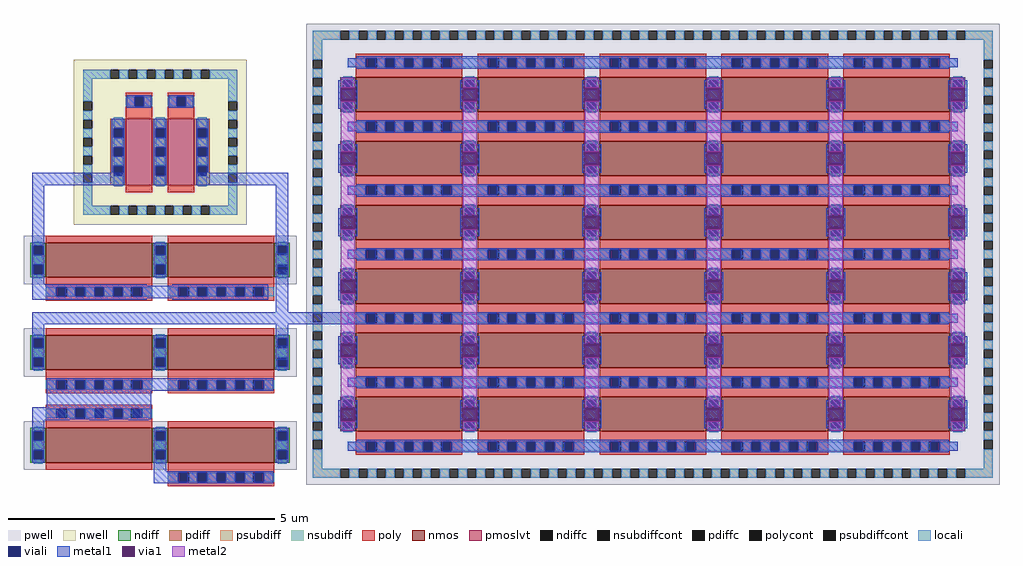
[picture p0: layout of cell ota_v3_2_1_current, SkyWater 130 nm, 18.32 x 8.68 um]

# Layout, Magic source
magic
tech sky130A
magscale 1 2
<< poly >>
rect 3103 70 3107 116
rect 3165 70 3169 116
rect 2187 -170 2191 -124
rect 2249 -170 2253 -124
rect 2645 -170 2649 -124
rect 2707 -170 2711 -124
rect 3103 -170 3107 -124
rect 3165 -170 3169 -124
rect 2187 -410 2191 -364
rect 2249 -410 2253 -364
rect 2645 -410 2649 -364
rect 2707 -410 2711 -364
rect 3103 -410 3107 -364
rect 3165 -410 3169 -364
rect 2187 -650 2191 -604
rect 2249 -650 2253 -604
rect 2645 -650 2649 -604
rect 2707 -650 2711 -604
rect 3103 -650 3107 -604
rect 3165 -650 3169 -604
rect 2187 -890 2191 -844
rect 2249 -890 2253 -844
rect 2645 -890 2649 -844
rect 2707 -890 2711 -844
rect 3103 -890 3107 -844
rect 3165 -890 3169 -844
<< locali >>
rect 3103 76 3169 110
rect 2187 -164 2253 -130
rect 2645 -164 2711 -130
rect 3103 -164 3169 -130
rect 2187 -404 2253 -370
rect 2645 -404 2711 -370
rect 3103 -404 3169 -370
rect 2187 -644 2253 -610
rect 2645 -644 2711 -610
rect 3103 -644 3169 -610
rect 2187 -884 2253 -850
rect 2645 -884 2711 -850
rect 3103 -884 3169 -850
<< metal1 >>
rect 1729 550 1795 596
rect 2187 550 2253 596
rect 2645 550 2711 596
rect 3103 550 3169 596
rect 1268 479 1340 506
rect 1268 427 1278 479
rect 1330 427 1340 479
rect 1268 400 1340 427
rect 1726 479 1798 506
rect 1726 427 1736 479
rect 1788 427 1798 479
rect 1726 400 1798 427
rect 2184 479 2256 506
rect 2184 427 2194 479
rect 2246 427 2256 479
rect 2184 400 2256 427
rect 2642 479 2714 506
rect 2642 427 2652 479
rect 2704 427 2714 479
rect 2642 400 2714 427
rect 3100 479 3172 506
rect 3100 427 3110 479
rect 3162 427 3172 479
rect 3100 400 3172 427
rect 3558 479 3630 506
rect 3558 427 3568 479
rect 3620 427 3630 479
rect 3558 400 3630 427
rect 1729 310 1795 356
rect 2187 310 2253 356
rect 2645 310 2711 356
rect 3103 310 3169 356
rect 1268 239 1340 266
rect 1268 187 1278 239
rect 1330 187 1340 239
rect 1268 160 1340 187
rect 1726 239 1798 266
rect 1726 187 1736 239
rect 1788 187 1798 239
rect 1726 160 1798 187
rect 2184 239 2256 266
rect 2184 187 2194 239
rect 2246 187 2256 239
rect 2184 160 2256 187
rect 2642 239 2714 266
rect 2642 187 2652 239
rect 2704 187 2714 239
rect 2642 160 2714 187
rect 3100 239 3172 266
rect 3100 187 3110 239
rect 3162 187 3172 239
rect 3100 160 3172 187
rect 3558 239 3630 266
rect 3558 187 3568 239
rect 3620 187 3630 239
rect 3558 160 3630 187
rect 118 113 464 159
rect 734 113 1080 159
rect 118 -103 164 113
rect 1034 -103 1080 113
rect 1729 70 1795 116
rect 2187 70 2253 116
rect 2645 70 2711 116
rect 3103 70 3169 116
rect 1268 -1 1340 26
rect 1268 -53 1278 -1
rect 1330 -53 1340 -1
rect 1268 -80 1340 -53
rect 1726 -1 1798 26
rect 1726 -53 1736 -1
rect 1788 -53 1798 -1
rect 1726 -80 1798 -53
rect 2184 -1 2256 26
rect 2184 -53 2194 -1
rect 2246 -53 2256 -1
rect 2184 -80 2256 -53
rect 2642 -1 2714 26
rect 2642 -53 2652 -1
rect 2704 -53 2714 -1
rect 2642 -80 2714 -53
rect 3100 -1 3172 26
rect 3100 -53 3110 -1
rect 3162 -53 3172 -1
rect 3100 -80 3172 -53
rect 3558 -1 3630 26
rect 3558 -53 3568 -1
rect 3620 -53 3630 -1
rect 3558 -80 3630 -53
rect 1034 -194 1080 -142
rect 1729 -170 1795 -124
rect 2187 -170 2253 -124
rect 2645 -170 2711 -124
rect 3103 -170 3169 -124
rect 118 -265 164 -233
rect 118 -311 209 -265
rect 566 -311 657 -265
rect 1034 -364 1080 -205
rect 1268 -241 1340 -214
rect 1268 -293 1278 -241
rect 1330 -293 1340 -241
rect 1268 -320 1340 -293
rect 1726 -241 1798 -214
rect 1726 -293 1736 -241
rect 1788 -293 1798 -241
rect 1726 -320 1798 -293
rect 2184 -241 2256 -214
rect 2184 -293 2194 -241
rect 2246 -293 2256 -241
rect 2184 -320 2256 -293
rect 2642 -241 2714 -214
rect 2642 -293 2652 -241
rect 2704 -293 2714 -241
rect 2642 -320 2714 -293
rect 3100 -241 3172 -214
rect 3100 -293 3110 -241
rect 3162 -293 3172 -241
rect 3100 -320 3172 -293
rect 3558 -241 3630 -214
rect 3558 -293 3568 -241
rect 3620 -293 3630 -241
rect 3558 -320 3630 -293
rect 118 -410 1337 -364
rect 1729 -410 1795 -364
rect 2187 -410 2253 -364
rect 2645 -410 2711 -364
rect 3103 -410 3169 -364
rect 118 -451 164 -410
rect 1034 -451 1080 -410
rect 1268 -481 1340 -454
rect 1034 -542 1080 -490
rect 1268 -533 1278 -481
rect 1330 -533 1340 -481
rect 1268 -560 1340 -533
rect 1726 -481 1798 -454
rect 1726 -533 1736 -481
rect 1788 -533 1798 -481
rect 1726 -560 1798 -533
rect 2184 -481 2256 -454
rect 2184 -533 2194 -481
rect 2246 -533 2256 -481
rect 2184 -560 2256 -533
rect 2642 -481 2714 -454
rect 2642 -533 2652 -481
rect 2704 -533 2714 -481
rect 2642 -560 2714 -533
rect 3100 -481 3172 -454
rect 3100 -533 3110 -481
rect 3162 -533 3172 -481
rect 3100 -560 3172 -533
rect 3558 -481 3630 -454
rect 3558 -533 3568 -481
rect 3620 -533 3630 -481
rect 3558 -560 3630 -533
rect 566 -658 633 -613
rect 1729 -650 1795 -604
rect 2187 -650 2253 -604
rect 2645 -650 2711 -604
rect 3103 -650 3169 -604
rect 174 -659 633 -658
rect 174 -721 566 -659
rect 1268 -721 1340 -694
rect 118 -770 258 -721
rect 334 -770 406 -721
rect 482 -770 554 -721
rect 118 -799 164 -770
rect 1268 -773 1278 -721
rect 1330 -773 1340 -721
rect 1268 -800 1340 -773
rect 1726 -721 1798 -694
rect 1726 -773 1736 -721
rect 1788 -773 1798 -721
rect 1726 -800 1798 -773
rect 2184 -721 2256 -694
rect 2184 -773 2194 -721
rect 2246 -773 2256 -721
rect 2184 -800 2256 -773
rect 2642 -721 2714 -694
rect 2642 -773 2652 -721
rect 2704 -773 2714 -721
rect 2642 -800 2714 -773
rect 3100 -721 3172 -694
rect 3100 -773 3110 -721
rect 3162 -773 3172 -721
rect 3100 -800 3172 -773
rect 3558 -721 3630 -694
rect 3558 -773 3568 -721
rect 3620 -773 3630 -721
rect 3558 -800 3630 -773
rect 1729 -890 1795 -844
rect 2187 -890 2253 -844
rect 2645 -890 2711 -844
rect 3103 -890 3169 -844
rect 576 -961 622 -928
rect 576 -1007 656 -961
<< via1 >>
rect 1278 427 1330 479
rect 1736 427 1788 479
rect 2194 427 2246 479
rect 2652 427 2704 479
rect 3110 427 3162 479
rect 3568 427 3620 479
rect 1278 187 1330 239
rect 1736 187 1788 239
rect 2194 187 2246 239
rect 2652 187 2704 239
rect 3110 187 3162 239
rect 3568 187 3620 239
rect 1278 -53 1330 -1
rect 1736 -53 1788 -1
rect 2194 -53 2246 -1
rect 2652 -53 2704 -1
rect 3110 -53 3162 -1
rect 3568 -53 3620 -1
rect 1278 -293 1330 -241
rect 1736 -293 1788 -241
rect 2194 -293 2246 -241
rect 2652 -293 2704 -241
rect 3110 -293 3162 -241
rect 3568 -293 3620 -241
rect 1278 -533 1330 -481
rect 1736 -533 1788 -481
rect 2194 -533 2246 -481
rect 2652 -533 2704 -481
rect 3110 -533 3162 -481
rect 3568 -533 3620 -481
rect 1278 -773 1330 -721
rect 1736 -773 1788 -721
rect 2194 -773 2246 -721
rect 2652 -773 2704 -721
rect 3110 -773 3162 -721
rect 3568 -773 3620 -721
<< metal2 >>
rect 1278 479 1330 516
rect 1278 239 1330 427
rect 1278 -1 1330 187
rect 1278 -241 1330 -53
rect 1278 -481 1330 -293
rect 1278 -721 1330 -533
rect 1278 -810 1330 -773
rect 1736 479 1788 516
rect 1736 239 1788 427
rect 1736 -1 1788 187
rect 1736 -241 1788 -53
rect 1736 -481 1788 -293
rect 1736 -721 1788 -533
rect 1736 -810 1788 -773
rect 2194 479 2246 516
rect 2194 239 2246 427
rect 2194 -1 2246 187
rect 2194 -241 2246 -53
rect 2194 -481 2246 -293
rect 2194 -721 2246 -533
rect 2194 -810 2246 -773
rect 2652 479 2704 516
rect 2652 239 2704 427
rect 2652 -1 2704 187
rect 2652 -241 2704 -53
rect 2652 -481 2704 -293
rect 2652 -721 2704 -533
rect 2652 -810 2704 -773
rect 3110 479 3162 516
rect 3110 239 3162 427
rect 3110 -1 3162 187
rect 3110 -241 3162 -53
rect 3110 -481 3162 -293
rect 3110 -721 3162 -533
rect 3110 -810 3162 -773
rect 3568 479 3620 516
rect 3568 239 3620 427
rect 3568 -1 3620 187
rect 3568 -241 3620 -53
rect 3568 -481 3620 -293
rect 3568 -721 3620 -533
rect 3568 -810 3620 -773
use sky130_fd_pr__nfet_01v8_DYUMWS  M5_v2
transform 1 0 2449 0 1 -147
box -1302 -865 1302 865
use sky130_fd_pr__nfet_01v8_BTD5D5  sky130_fd_pr__nfet_01v8_BTD5D5_0
transform 1 0 599 0 1 -516
box -513 -153 513 91
use sky130_fd_pr__nfet_01v8_NJGPHB  sky130_fd_pr__nfet_01v8_NJGPHB_0
transform 1 0 599 0 1 -199
box -513 -122 513 122
use sky130_fd_pr__nfet_01v8_YCG9D7  sky130_fd_pr__nfet_01v8_YCG9D7_0
transform 1 0 599 0 1 -864
box -513 -153 513 153
use sky130_fd_pr__pfet_01v8_lvt_YE4XRW  sky130_fd_pr__pfet_01v8_lvt_YE4XRW_0
transform 1 0 599 0 1 274
box -325 -309 325 309
<< end >>

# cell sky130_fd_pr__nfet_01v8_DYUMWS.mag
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
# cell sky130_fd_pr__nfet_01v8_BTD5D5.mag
magic
tech sky130A
magscale 1 2
<< pwell >>
rect -513 -91 513 91
<< nmos >>
rect -429 -65 -29 65
rect 29 -65 429 65
<< ndiff >>
rect -487 51 -429 65
rect -487 17 -475 51
rect -441 17 -429 51
rect -487 -17 -429 17
rect -487 -51 -475 -17
rect -441 -51 -429 -17
rect -487 -65 -429 -51
rect -29 51 29 65
rect -29 17 -17 51
rect 17 17 29 51
rect -29 -17 29 17
rect -29 -51 -17 -17
rect 17 -51 29 -17
rect -29 -65 29 -51
rect 429 51 487 65
rect 429 17 441 51
rect 475 17 487 51
rect 429 -17 487 17
rect 429 -51 441 -17
rect 475 -51 487 -17
rect 429 -65 487 -51
<< ndiffc >>
rect -475 17 -441 51
rect -475 -51 -441 -17
rect -17 17 17 51
rect -17 -51 17 -17
rect 441 17 475 51
rect 441 -51 475 -17
<< poly >>
rect -429 65 -29 91
rect 29 65 429 91
rect -429 -103 -29 -65
rect -429 -137 -382 -103
rect -348 -137 -314 -103
rect -280 -137 -246 -103
rect -212 -137 -178 -103
rect -144 -137 -110 -103
rect -76 -137 -29 -103
rect -429 -153 -29 -137
rect 29 -103 429 -65
rect 29 -137 76 -103
rect 110 -137 144 -103
rect 178 -137 212 -103
rect 246 -137 280 -103
rect 314 -137 348 -103
rect 382 -137 429 -103
rect 29 -153 429 -137
<< polycont >>
rect -382 -137 -348 -103
rect -314 -137 -280 -103
rect -246 -137 -212 -103
rect -178 -137 -144 -103
rect -110 -137 -76 -103
rect 76 -137 110 -103
rect 144 -137 178 -103
rect 212 -137 246 -103
rect 280 -137 314 -103
rect 348 -137 382 -103
<< locali >>
rect -475 53 -441 69
rect -475 -17 -441 17
rect -475 -69 -441 -53
rect -17 53 17 69
rect -17 -17 17 17
rect -17 -69 17 -53
rect 441 53 475 69
rect 441 -17 475 17
rect 441 -69 475 -53
rect -429 -137 -390 -103
rect -348 -137 -318 -103
rect -280 -137 -246 -103
rect -212 -137 -178 -103
rect -140 -137 -110 -103
rect -68 -137 -29 -103
rect 29 -137 68 -103
rect 110 -137 140 -103
rect 178 -137 212 -103
rect 246 -137 280 -103
rect 318 -137 348 -103
rect 390 -137 429 -103
<< viali >>
rect -475 51 -441 53
rect -475 19 -441 51
rect -475 -51 -441 -19
rect -475 -53 -441 -51
rect -17 51 17 53
rect -17 19 17 51
rect -17 -51 17 -19
rect -17 -53 17 -51
rect 441 51 475 53
rect 441 19 475 51
rect 441 -51 475 -19
rect 441 -53 475 -51
rect -390 -137 -382 -103
rect -382 -137 -356 -103
rect -318 -137 -314 -103
rect -314 -137 -284 -103
rect -246 -137 -212 -103
rect -174 -137 -144 -103
rect -144 -137 -140 -103
rect -102 -137 -76 -103
rect -76 -137 -68 -103
rect 68 -137 76 -103
rect 76 -137 102 -103
rect 140 -137 144 -103
rect 144 -137 174 -103
rect 212 -137 246 -103
rect 284 -137 314 -103
rect 314 -137 318 -103
rect 356 -137 382 -103
rect 382 -137 390 -103
<< metal1 >>
rect -481 53 -435 65
rect -481 19 -475 53
rect -441 19 -435 53
rect -481 -19 -435 19
rect -481 -53 -475 -19
rect -441 -53 -435 -19
rect -481 -65 -435 -53
rect -23 53 23 65
rect -23 19 -17 53
rect 17 19 23 53
rect -23 -19 23 19
rect -23 -53 -17 -19
rect 17 -53 23 -19
rect -23 -65 23 -53
rect 435 53 481 65
rect 435 19 441 53
rect 475 19 481 53
rect 435 -19 481 19
rect 435 -53 441 -19
rect 475 -53 481 -19
rect 435 -65 481 -53
rect -425 -103 -33 -97
rect -425 -137 -390 -103
rect -356 -137 -318 -103
rect -284 -137 -246 -103
rect -212 -137 -174 -103
rect -140 -137 -102 -103
rect -68 -137 -33 -103
rect -425 -143 -33 -137
rect 33 -103 425 -97
rect 33 -137 68 -103
rect 102 -137 140 -103
rect 174 -137 212 -103
rect 246 -137 284 -103
rect 318 -137 356 -103
rect 390 -137 425 -103
rect 33 -143 425 -137
<< labels >>
rlabel locali s -458 0 -458 0 4 D0
rlabel locali s 0 0 0 0 4 S1
<< end >>

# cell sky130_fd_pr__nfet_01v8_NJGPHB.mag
magic
tech sky130A
magscale 1 2
<< pwell >>
rect -513 -60 513 122
<< nmos >>
rect -429 -34 -29 96
rect 29 -34 429 96
<< ndiff >>
rect -487 82 -429 96
rect -487 48 -475 82
rect -441 48 -429 82
rect -487 14 -429 48
rect -487 -20 -475 14
rect -441 -20 -429 14
rect -487 -34 -429 -20
rect -29 82 29 96
rect -29 48 -17 82
rect 17 48 29 82
rect -29 14 29 48
rect -29 -20 -17 14
rect 17 -20 29 14
rect -29 -34 29 -20
rect 429 82 487 96
rect 429 48 441 82
rect 475 48 487 82
rect 429 14 487 48
rect 429 -20 441 14
rect 475 -20 487 14
rect 429 -34 487 -20
<< ndiffc >>
rect -475 48 -441 82
rect -475 -20 -441 14
rect -17 48 17 82
rect -17 -20 17 14
rect 441 48 475 82
rect 441 -20 475 14
<< poly >>
rect -429 96 -29 122
rect 29 96 429 122
rect -429 -72 -29 -34
rect -429 -106 -382 -72
rect -348 -106 -314 -72
rect -280 -106 -246 -72
rect -212 -106 -178 -72
rect -144 -106 -110 -72
rect -76 -106 -29 -72
rect -429 -122 -29 -106
rect 29 -72 429 -34
rect 29 -106 76 -72
rect 110 -106 144 -72
rect 178 -106 212 -72
rect 246 -106 280 -72
rect 314 -106 348 -72
rect 382 -106 429 -72
rect 29 -122 429 -106
<< polycont >>
rect -382 -106 -348 -72
rect -314 -106 -280 -72
rect -246 -106 -212 -72
rect -178 -106 -144 -72
rect -110 -106 -76 -72
rect 76 -106 110 -72
rect 144 -106 178 -72
rect 212 -106 246 -72
rect 280 -106 314 -72
rect 348 -106 382 -72
<< locali >>
rect -475 84 -441 100
rect -475 14 -441 48
rect -475 -38 -441 -22
rect -17 84 17 100
rect -17 14 17 48
rect -17 -38 17 -22
rect 441 84 475 100
rect 441 14 475 48
rect 441 -38 475 -22
rect -429 -106 -390 -72
rect -348 -106 -318 -72
rect -280 -106 -246 -72
rect -212 -106 -178 -72
rect -140 -106 -110 -72
rect -68 -106 -29 -72
rect 29 -106 68 -72
rect 110 -106 140 -72
rect 178 -106 212 -72
rect 246 -106 280 -72
rect 318 -106 348 -72
rect 390 -106 429 -72
<< viali >>
rect -475 82 -441 84
rect -475 50 -441 82
rect -475 -20 -441 12
rect -475 -22 -441 -20
rect -17 82 17 84
rect -17 50 17 82
rect -17 -20 17 12
rect -17 -22 17 -20
rect 441 82 475 84
rect 441 50 475 82
rect 441 -20 475 12
rect 441 -22 475 -20
rect -390 -106 -382 -72
rect -382 -106 -356 -72
rect -318 -106 -314 -72
rect -314 -106 -284 -72
rect -246 -106 -212 -72
rect -174 -106 -144 -72
rect -144 -106 -140 -72
rect -102 -106 -76 -72
rect -76 -106 -68 -72
rect 68 -106 76 -72
rect 76 -106 102 -72
rect 140 -106 144 -72
rect 144 -106 174 -72
rect 212 -106 246 -72
rect 284 -106 314 -72
rect 314 -106 318 -72
rect 356 -106 382 -72
rect 382 -106 390 -72
<< metal1 >>
rect -481 84 -435 96
rect -481 50 -475 84
rect -441 50 -435 84
rect -481 12 -435 50
rect -481 -22 -475 12
rect -441 -22 -435 12
rect -481 -34 -435 -22
rect -23 84 23 96
rect -23 50 -17 84
rect 17 50 23 84
rect -23 12 23 50
rect -23 -22 -17 12
rect 17 -22 23 12
rect -23 -34 23 -22
rect 435 84 481 96
rect 435 50 441 84
rect 475 50 481 84
rect 435 12 481 50
rect 435 -22 441 12
rect 475 -22 481 12
rect 435 -34 481 -22
rect -449 -66 -51 -60
rect -449 -72 -12 -66
rect -449 -74 -390 -72
rect -413 -106 -390 -74
rect -356 -106 -318 -72
rect -284 -106 -246 -72
rect -212 -106 -174 -72
rect -140 -106 -102 -72
rect -68 -106 -12 -72
rect -481 -112 -12 -106
rect 45 -72 407 -60
rect 45 -106 68 -72
rect 102 -106 140 -72
rect 174 -106 212 -72
rect 246 -106 284 -72
rect 318 -106 356 -72
rect 390 -106 407 -72
rect -481 -118 -51 -112
rect 45 -118 407 -106
<< labels >>
rlabel locali s -458 31 -458 31 4 D0
rlabel locali s -229 -89 -229 -89 4 G0
rlabel locali s 0 31 0 31 4 S1
rlabel locali s -229 -89 -229 -89 4 G1
rlabel locali s 229 -89 229 -89 4 G1
<< end >>

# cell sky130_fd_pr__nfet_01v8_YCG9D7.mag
magic
tech sky130A
magscale 1 2
<< pwell >>
rect -513 -91 513 91
<< nmos >>
rect -429 -65 -29 65
rect 29 -65 429 65
<< ndiff >>
rect -487 51 -429 65
rect -487 17 -475 51
rect -441 17 -429 51
rect -487 -17 -429 17
rect -487 -51 -475 -17
rect -441 -51 -429 -17
rect -487 -65 -429 -51
rect -29 51 29 65
rect -29 17 -17 51
rect 17 17 29 51
rect -29 -17 29 17
rect -29 -51 -17 -17
rect 17 -51 29 -17
rect -29 -65 29 -51
rect 429 51 487 65
rect 429 17 441 51
rect 475 17 487 51
rect 429 -17 487 17
rect 429 -51 441 -17
rect 475 -51 487 -17
rect 429 -65 487 -51
<< ndiffc >>
rect -475 17 -441 51
rect -475 -51 -441 -17
rect -17 17 17 51
rect -17 -51 17 -17
rect 441 17 475 51
rect 441 -51 475 -17
<< poly >>
rect -429 137 -29 153
rect -429 103 -382 137
rect -348 103 -314 137
rect -280 103 -246 137
rect -212 103 -178 137
rect -144 103 -110 137
rect -76 103 -29 137
rect -429 65 -29 103
rect 29 65 429 91
rect -429 -91 -29 -65
rect 29 -103 429 -65
rect 29 -137 76 -103
rect 110 -137 144 -103
rect 178 -137 212 -103
rect 246 -137 280 -103
rect 314 -137 348 -103
rect 382 -137 429 -103
rect 29 -153 429 -137
<< polycont >>
rect -382 103 -348 137
rect -314 103 -280 137
rect -246 103 -212 137
rect -178 103 -144 137
rect -110 103 -76 137
rect 76 -137 110 -103
rect 144 -137 178 -103
rect 212 -137 246 -103
rect 280 -137 314 -103
rect 348 -137 382 -103
<< locali >>
rect -429 103 -390 137
rect -348 103 -318 137
rect -280 103 -246 137
rect -212 103 -178 137
rect -140 103 -110 137
rect -68 103 -29 137
rect -475 53 -441 69
rect -475 -17 -441 17
rect -475 -69 -441 -53
rect -17 53 17 69
rect -17 -17 17 17
rect -17 -69 17 -53
rect 441 53 475 69
rect 441 -17 475 17
rect 441 -69 475 -53
rect 29 -137 68 -103
rect 110 -137 140 -103
rect 178 -137 212 -103
rect 246 -137 280 -103
rect 318 -137 348 -103
rect 390 -137 429 -103
<< viali >>
rect -390 103 -382 137
rect -382 103 -356 137
rect -318 103 -314 137
rect -314 103 -284 137
rect -246 103 -212 137
rect -174 103 -144 137
rect -144 103 -140 137
rect -102 103 -76 137
rect -76 103 -68 137
rect -475 51 -441 53
rect -475 19 -441 51
rect -475 -51 -441 -19
rect -475 -53 -441 -51
rect -17 51 17 53
rect -17 19 17 51
rect -17 -51 17 -19
rect -17 -53 17 -51
rect 441 51 475 53
rect 441 19 475 51
rect 441 -51 475 -19
rect 441 -53 475 -51
rect 68 -137 76 -103
rect 76 -137 102 -103
rect 140 -137 144 -103
rect 144 -137 174 -103
rect 212 -137 246 -103
rect 284 -137 314 -103
rect 314 -137 318 -103
rect 356 -137 382 -103
rect 382 -137 390 -103
<< metal1 >>
rect -425 137 -33 143
rect -425 103 -390 137
rect -356 103 -318 137
rect -284 103 -246 137
rect -212 103 -174 137
rect -140 103 -102 137
rect -68 103 -33 137
rect -425 97 -33 103
rect -481 53 -435 65
rect -481 19 -475 53
rect -441 19 -435 53
rect -481 -19 -435 19
rect -481 -53 -475 -19
rect -441 -53 -435 -19
rect -481 -65 -435 -53
rect -23 53 23 65
rect -23 19 -17 53
rect 17 19 23 53
rect -23 -19 23 19
rect -23 -53 -17 -19
rect 17 -53 23 -19
rect -23 -65 23 -53
rect 435 53 481 65
rect 435 19 441 53
rect 475 19 481 53
rect 435 -19 481 19
rect 435 -53 441 -19
rect 475 -53 481 -19
rect 435 -65 481 -53
rect 33 -103 425 -97
rect 33 -137 68 -103
rect 102 -137 140 -103
rect 174 -137 212 -103
rect 246 -137 284 -103
rect 318 -137 356 -103
rect 390 -137 425 -103
rect 33 -143 425 -137
<< labels >>
rlabel locali s -458 0 -458 0 4 D0
rlabel locali s -229 120 -229 120 4 G0
rlabel locali s 0 0 0 0 4 S1
<< end >>

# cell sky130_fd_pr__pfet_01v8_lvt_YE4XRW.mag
magic
tech sky130A
magscale 1 2
<< nwell >>
rect -325 -309 325 309
<< pmoslvt >>
rect -129 -161 -29 89
rect 29 -161 129 89
<< pdiff >>
rect -187 49 -129 89
rect -187 15 -175 49
rect -141 15 -129 49
rect -187 -19 -129 15
rect -187 -53 -175 -19
rect -141 -53 -129 -19
rect -187 -87 -129 -53
rect -187 -121 -175 -87
rect -141 -121 -129 -87
rect -187 -161 -129 -121
rect -29 49 29 89
rect -29 15 -17 49
rect 17 15 29 49
rect -29 -19 29 15
rect -29 -53 -17 -19
rect 17 -53 29 -19
rect -29 -87 29 -53
rect -29 -121 -17 -87
rect 17 -121 29 -87
rect -29 -161 29 -121
rect 129 49 187 89
rect 129 15 141 49
rect 175 15 187 49
rect 129 -19 187 15
rect 129 -53 141 -19
rect 175 -53 187 -19
rect 129 -87 187 -53
rect 129 -121 141 -87
rect 175 -121 187 -87
rect 129 -161 187 -121
<< pdiffc >>
rect -175 15 -141 49
rect -175 -53 -141 -19
rect -175 -121 -141 -87
rect -17 15 17 49
rect -17 -53 17 -19
rect -17 -121 17 -87
rect 141 15 175 49
rect 141 -53 175 -19
rect 141 -121 175 -87
<< nsubdiff >>
rect -289 239 -187 273
rect -153 239 -119 273
rect -85 239 -51 273
rect -17 239 17 273
rect 51 239 85 273
rect 119 239 153 273
rect 187 239 289 273
rect -289 153 -255 239
rect -289 85 -255 119
rect 255 153 289 239
rect -289 17 -255 51
rect -289 -51 -255 -17
rect -289 -119 -255 -85
rect -289 -239 -255 -153
rect 255 85 289 119
rect 255 17 289 51
rect 255 -51 289 -17
rect 255 -119 289 -85
rect 255 -239 289 -153
rect -289 -273 -187 -239
rect -153 -273 -119 -239
rect -85 -273 -51 -239
rect -17 -273 17 -239
rect 51 -273 85 -239
rect 119 -273 153 -239
rect 187 -273 289 -239
<< nsubdiffcont >>
rect -187 239 -153 273
rect -119 239 -85 273
rect -51 239 -17 273
rect 17 239 51 273
rect 85 239 119 273
rect 153 239 187 273
rect -289 119 -255 153
rect 255 119 289 153
rect -289 51 -255 85
rect -289 -17 -255 17
rect -289 -85 -255 -51
rect -289 -153 -255 -119
rect 255 51 289 85
rect 255 -17 289 17
rect 255 -85 289 -51
rect 255 -153 289 -119
rect -187 -273 -153 -239
rect -119 -273 -85 -239
rect -51 -273 -17 -239
rect 17 -273 51 -239
rect 85 -273 119 -239
rect 153 -273 187 -239
<< poly >>
rect -129 170 -29 186
rect -129 136 -96 170
rect -62 136 -29 170
rect -129 89 -29 136
rect 29 170 129 186
rect 29 136 62 170
rect 96 136 129 170
rect 29 89 129 136
rect -129 -187 -29 -161
rect 29 -187 129 -161
<< polycont >>
rect -96 136 -62 170
rect 62 136 96 170
<< locali >>
rect -289 239 -187 273
rect -153 239 -119 273
rect -85 239 -51 273
rect -17 239 17 273
rect 51 239 85 273
rect 119 239 153 273
rect 187 239 289 273
rect -289 153 -255 239
rect -129 136 -96 170
rect -62 136 -29 170
rect 29 136 62 170
rect 96 136 129 170
rect 255 153 289 239
rect -289 85 -255 119
rect -289 17 -255 51
rect -289 -51 -255 -17
rect -289 -119 -255 -85
rect -289 -239 -255 -153
rect -175 53 -141 93
rect -175 -19 -141 15
rect -175 -87 -141 -53
rect -175 -165 -141 -125
rect -17 53 17 93
rect -17 -19 17 15
rect -17 -87 17 -53
rect -17 -165 17 -125
rect 141 53 175 93
rect 141 -19 175 15
rect 141 -87 175 -53
rect 141 -165 175 -125
rect 255 85 289 119
rect 255 17 289 51
rect 255 -51 289 -17
rect 255 -119 289 -85
rect 255 -239 289 -153
rect -289 -273 -187 -239
rect -153 -273 -119 -239
rect -85 -273 -51 -239
rect -17 -273 17 -239
rect 51 -273 85 -239
rect 119 -273 153 -239
rect 187 -273 289 -239
<< viali >>
rect -96 136 -62 170
rect 62 136 96 170
rect -175 49 -141 53
rect -175 19 -141 49
rect -175 -53 -141 -19
rect -175 -121 -141 -91
rect -175 -125 -141 -121
rect -17 49 17 53
rect -17 19 17 49
rect -17 -53 17 -19
rect -17 -121 17 -91
rect -17 -125 17 -121
rect 141 49 175 53
rect 141 19 175 49
rect 141 -53 175 -19
rect 141 -121 175 -91
rect 141 -125 175 -121
<< metal1 >>
rect -125 170 -33 176
rect -125 136 -96 170
rect -62 136 -33 170
rect -125 130 -33 136
rect 33 170 125 176
rect 33 136 62 170
rect 96 136 125 170
rect 33 130 125 136
rect -181 53 -135 89
rect -181 19 -175 53
rect -141 19 -135 53
rect -181 -19 -135 19
rect -181 -53 -175 -19
rect -141 -53 -135 -19
rect -181 -91 -135 -53
rect -181 -125 -175 -91
rect -141 -125 -135 -91
rect -181 -161 -135 -125
rect -23 53 23 89
rect -23 19 -17 53
rect 17 19 23 53
rect -23 -19 23 19
rect -23 -53 -17 -19
rect 17 -53 23 -19
rect -23 -91 23 -53
rect -23 -125 -17 -91
rect 17 -125 23 -91
rect -23 -161 23 -125
rect 135 53 181 89
rect 135 19 141 53
rect 175 19 181 53
rect 135 -19 181 19
rect 135 -53 141 -19
rect 175 -53 181 -19
rect 135 -91 181 -53
rect 135 -125 141 -91
rect 175 -125 181 -91
rect 135 -161 181 -125
<< labels >>
rlabel locali s 0 -256 0 -256 4 B
rlabel locali s -158 -36 -158 -36 4 D0
rlabel locali s -79 153 -79 153 4 G0
rlabel locali s 0 -36 0 -36 4 S1
rlabel locali s 79 153 79 153 4 G1
<< properties >>
string FIXED_BBOX -528 -256 272 256
<< end >>
